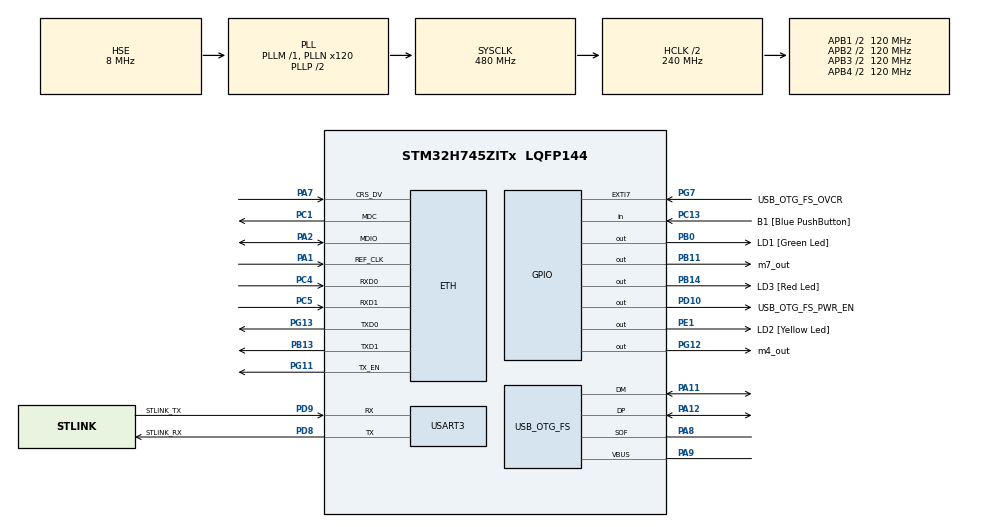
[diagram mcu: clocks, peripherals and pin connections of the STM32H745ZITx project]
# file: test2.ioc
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CORTEX_M7.CPU_DCache=Disabled
CORTEX_M7.CPU_ICache=Disabled
CortexM4.IPs=FATFS_M4\:I,FREERTOS_M4\:I,IWDG2\:I,RCC,WWDG2\:I,DMA,BDMA,MDMA,NVIC2\:I,USART3,ETH,DEBUG,USB_DEVICE_M4\:I,USB_HOST_M4\:I,PDM2PCM_M4\:I,PWR,RESMGR_UTILITY,SYS_M4\:I,CORTEX_M4\:I,VREFBUF
CortexM4.Pins=PB0,PB14,PG12
CortexM7.IPs=FATFS_M7\:I,FREERTOS_M7\:I,IWDG1\:I,RCC\:I,WWDG1\:I,DMA\:I,BDMA\:I,MDMA\:I,NVIC1\:I,SYS\:I,USART3\:I,USB_OTG_FS\:I,ETH\:I,CORTEX_M7\:I,DEBUG\:I,USB_DEVICE_M7\:I,USB_HOST_M7\:I,PDM2PCM_M7\:I,PWR\:I,RESMGR_UTILITY\:I,VREFBUF\:I
CortexM7.Pins=PC13,PB11,PE1
ETH.MediaInterface=HAL_ETH_RMII_MODE
Mcu.Family=STM32H7
Mcu.Name=STM32H745ZITx
Mcu.Package=LQFP144
Mcu.UserConstants=HSEM_USART3_UpdateHandler,2;HSEM_USART3,1;HSEM_INFO,3
NVIC1.HSEM1_IRQn=true\:0\:0\:false\:false\:true\:true\:true
NVIC1.PriorityGroup=NVIC_PRIORITYGROUP_4
NVIC2.HSEM2_IRQn=true\:0\:0\:false\:false\:true\:true\:true
NVIC2.PriorityGroup=NVIC_PRIORITYGROUP_4
PA1.Mode=RMII
PA1.PinAttribute=CortexM7
PA1.Signal=ETH_REF_CLK
PA11.Mode=Device_Only
PA11.PinAttribute=CortexM7
PA11.Signal=USB_OTG_FS_DM
PA12.Mode=Device_Only
PA12.PinAttribute=CortexM7
PA12.Signal=USB_OTG_FS_DP
PA2.Mode=RMII
PA2.PinAttribute=CortexM7
PA2.Signal=ETH_MDIO
PA7.Mode=RMII
PA7.PinAttribute=CortexM7
PA7.Signal=ETH_CRS_DV
PA8.Mode=Activate_SOF_FS
PA8.PinAttribute=CortexM7
PA8.Signal=USB_OTG_FS_SOF
PA9.Mode=Activate_VBUS
PA9.PinAttribute=CortexM7
PA9.Signal=USB_OTG_FS_VBUS
PB0.GPIO_Label=LD1 [Green Led]
PB0.PinAttribute=CortexM4
PB0.Signal=GPIO_Output
PB11.GPIO_Label=m7_out
PB11.PinAttribute=CortexM7
PB11.PinState=GPIO_PIN_SET
PB11.Signal=GPIO_Output
PB13.Mode=RMII
PB13.PinAttribute=CortexM7
PB13.Signal=ETH_TXD1
PB14.GPIO_Label=LD3 [Red Led]
PB14.PinAttribute=CortexM4
PB14.Signal=GPIO_Output
PC1.Mode=RMII
PC1.PinAttribute=CortexM7
PC1.Signal=ETH_MDC
PC13.GPIO_Label=B1 [Blue PushButton]
PC13.PinAttribute=CortexM7
PC13.Signal=GPIO_Input
PC14-OSC32_IN\ (OSC32_IN).Mode=LSE-External-Oscillator
PC14-OSC32_IN\ (OSC32_IN).PinAttribute=CortexM7
PC14-OSC32_IN\ (OSC32_IN).Signal=RCC_OSC32_IN
PC15-OSC32_OUT\ (OSC32_OUT).Mode=LSE-External-Oscillator
PC15-OSC32_OUT\ (OSC32_OUT).PinAttribute=CortexM7
PC15-OSC32_OUT\ (OSC32_OUT).Signal=RCC_OSC32_OUT
PC4.Mode=RMII
PC4.PinAttribute=CortexM7
PC4.Signal=ETH_RXD0
PC5.Mode=RMII
PC5.PinAttribute=CortexM7
PC5.Signal=ETH_RXD1
PD10.GPIO_Label=USB_OTG_FS_PWR_EN
PD10.PinAttribute=Free
PD10.Signal=GPIO_Output
PD8.GPIO_Label=STLINK_RX
PD8.Mode=Asynchronous
PD8.PinAttribute=CortexM7
PD8.Signal=USART3_TX
PD9.GPIO_Label=STLINK_TX
PD9.Mode=Asynchronous
PD9.PinAttribute=CortexM7
PD9.Signal=USART3_RX
PE1.GPIO_Label=LD2 [Yellow Led]
PE1.PinAttribute=CortexM7
PE1.Signal=GPIO_Output
PG11.Mode=RMII
PG11.PinAttribute=CortexM7
PG11.Signal=ETH_TX_EN
PG12.GPIO_Label=m4_out
PG12.PinAttribute=CortexM4
PG12.PinState=GPIO_PIN_SET
PG12.Signal=GPIO_Output
PG13.Mode=RMII
PG13.PinAttribute=CortexM7
PG13.Signal=ETH_TXD0
PG7.GPIO_Label=USB_OTG_FS_OVCR
PG7.PinAttribute=Free
PG7.Signal=GPXTI7
PH0-OSC_IN\ (PH0).Mode=HSE-External-Clock-Source
PH0-OSC_IN\ (PH0).PinAttribute=CortexM7
PH0-OSC_IN\ (PH0).Signal=RCC_OSC_IN
PH1-OSC_OUT\ (PH1).PinAttribute=CortexM7
PH1-OSC_OUT\ (PH1).Signal=RCC_OSC_OUT
ProjectManager.HeapSize=0x200
ProjectManager.StackSize=0x400
ProjectManager.TargetToolchain=STM32CubeIDE
RCC.ADCFreq_Value=16125000
RCC.APB1Freq_Value=120000000
RCC.APB2Freq_Value=120000000
RCC.APB3Freq_Value=120000000
RCC.APB4Freq_Value=120000000
RCC.CortexFreq_Value=480000000
RCC.D1PPRE=RCC_APB3_DIV2
RCC.D2PPRE1=RCC_APB1_DIV2
RCC.D2PPRE2=RCC_APB2_DIV2
RCC.D3PPRE=RCC_APB4_DIV2
RCC.DIVM1=1
RCC.DIVM3=1
RCC.DIVN1=120
RCC.DIVN3=24
RCC.DIVQ3=4
RCC.HCLKFreq_Value=240000000
RCC.HPRE=RCC_HCLK_DIV2
RCC.HSE_VALUE=8000000
RCC.PLL2FRACN=0
RCC.PLL3FRACN=0
RCC.PLLFRACN=0
RCC.SYSCLKFreq_VALUE=480000000
RCC.SYSCLKSource=RCC_SYSCLKSOURCE_PLLCLK
RCC.SupplySource=PWR_DIRECT_SMPS_SUPPLY
RCC.USBCLockSelection=RCC_USBCLKSOURCE_PLL3
RCC.USBFreq_Value=48000000
USART3.VirtualMode-Asynchronous=VM_ASYNC
USB_OTG_FS.VirtualMode=Device_Only
VP_SYS_M4_VS_Systick.Mode=SysTick
board=NUCLEO-H745ZI-Q

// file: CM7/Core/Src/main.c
/* USER CODE BEGIN Header */
/**
 ******************************************************************************
 * @file           : main.c
 * @brief          : Main program body
 ******************************************************************************
 * @attention
 *
 * <h2><center>&copy; Copyright (c) 2020 STMicroelectronics.
 * All rights reserved.</center></h2>
 *
 * This software component is licensed by ST under BSD 3-Clause license,
 * the "License"; You may not use this file except in compliance with the
 * License. You may obtain a copy of the License at:
 *                        opensource.org/licenses/BSD-3-Clause
 *
 ******************************************************************************
 */
/* USER CODE END Header */

#include "main.h"
#include "string.h"

/* USER CODE BEGIN Includes */
#include "arc_console.hpp"
#include "cxx_main.h"
#include "coremark.h"
/* USER CODE END Includes */

/* USER CODE BEGIN PD */
#define HSEM_ID_0 (0U) /* HW semaphore 0*/

/* USER CODE END PD */

/* USER CODE BEGIN PM */
#define DEBUG_PRINT(...) console_tag("Cortex-M7", __VA_ARGS__);
//#define DEBUG_PRINT(...)

/* USER CODE END PM */

#if defined ( __ICCARM__ ) /*!< IAR Compiler */

#pragma location=0x30040000
ETH_DMADescTypeDef  DMARxDscrTab[ETH_RX_DESC_CNT]; /* Ethernet Rx DMA Descriptors */
#pragma location=0x30040060
ETH_DMADescTypeDef  DMATxDscrTab[ETH_TX_DESC_CNT]; /* Ethernet Tx DMA Descriptors */
#pragma location=0x30040200
uint8_t Rx_Buff[ETH_RX_DESC_CNT][ETH_MAX_PACKET_SIZE]; /* Ethernet Receive Buffers */

#elif defined ( __CC_ARM )  /* MDK ARM Compiler */

__attribute__((at(0x30040000))) ETH_DMADescTypeDef  DMARxDscrTab[ETH_RX_DESC_CNT]; /* Ethernet Rx DMA Descriptors */
__attribute__((at(0x30040060))) ETH_DMADescTypeDef  DMATxDscrTab[ETH_TX_DESC_CNT]; /* Ethernet Tx DMA Descriptors */
__attribute__((at(0x30040200))) uint8_t Rx_Buff[ETH_RX_DESC_CNT][ETH_MAX_PACKET_SIZE]; /* Ethernet Receive Buffer */

#elif defined ( __GNUC__ ) /* GNU Compiler */

ETH_DMADescTypeDef DMARxDscrTab[ETH_RX_DESC_CNT] __attribute__((section(".RxDecripSection"))); /* Ethernet Rx DMA Descriptors */
ETH_DMADescTypeDef DMATxDscrTab[ETH_TX_DESC_CNT] __attribute__((section(".TxDecripSection")));   /* Ethernet Tx DMA Descriptors */
uint8_t Rx_Buff[ETH_RX_DESC_CNT][ETH_MAX_PACKET_SIZE] __attribute__((section(".RxArraySection"))); /* Ethernet Receive Buffers */

#endif

ETH_TxPacketConfig TxConfig;

ETH_HandleTypeDef heth;

UART_HandleTypeDef huart3;

PCD_HandleTypeDef hpcd_USB_OTG_FS;

/* USER CODE BEGIN PV */
UART_HandleTypeDef huart3_buffer_in_CM7 __attribute__((section(".ipcc")));
ts_share_infomation info __attribute__((section(".ipcc")));
/* USER CODE END PV */

void SystemClock_Config(void);
static void MX_GPIO_Init(void);
static void MX_ETH_Init(void);
static void MX_USART3_UART_Init(void);
static void MX_USB_OTG_FS_PCD_Init(void);

/* USER CODE BEGIN 0 */
//int _write(int file, char *ptr, int len)
//{
//	HAL_UART_Transmit(&huart3, (uint8_t*)ptr, len, 500);
//	return len;
//}

clock_t clock()
{
	return HAL_GetTick();
    //return MCU.SystemClock;
}
/* USER CODE END 0 */

int main(void)
{
  /* USER CODE BEGIN Boot_Mode_Sequence_0 */
	int32_t timeout;
  /* USER CODE END Boot_Mode_Sequence_0 */

/* USER CODE BEGIN Boot_Mode_Sequence_1 */
	/* Wait until CPU2 boots and enters in stop mode or timeout*/
	timeout = 0xFFFF;
	while((__HAL_RCC_GET_FLAG(RCC_FLAG_D2CKRDY) != RESET) && (timeout-- > 0));
	if ( timeout < 0 )
	{
		Error_Handler();
	}
/* USER CODE END Boot_Mode_Sequence_1 */
  /* MCU Configuration--------------------------------------------------------*/

  /* Reset of all peripherals, Initializes the Flash interface and the Systick. */
  HAL_Init();

  /* Configure the system clock */
  SystemClock_Config();
/* USER CODE BEGIN Boot_Mode_Sequence_2 */
	/* When system initialization is finished, Cortex-M7 will release Cortex-M4 by means of HSEM notification */
	/*HW semaphore Clock enable*/
	__HAL_RCC_HSEM_CLK_ENABLE();
	/*Take HSEM */
	HAL_HSEM_FastTake(HSEM_ID_0);
	HAL_HSEM_FastTake(HSEM_USART3_UpdateHandler);

	/*Release HSEM in order to notify the CPU2(CM4)*/
	HAL_HSEM_Release(HSEM_ID_0,0);
	/* wait until CPU2 wakes up from stop mode */
	timeout = 0xFFFF;
	while((__HAL_RCC_GET_FLAG(RCC_FLAG_D2CKRDY) == RESET) && (timeout-- > 0));
	if ( timeout < 0 )
	{
		Error_Handler();
	}
/* USER CODE END Boot_Mode_Sequence_2 */

  /* Initialize all configured peripherals */
  MX_GPIO_Init();
  MX_ETH_Init();
  MX_USART3_UART_Init();
  MX_USB_OTG_FS_PCD_Init();
  /* USER CODE BEGIN 2 */
	memcpy(&huart3_buffer_in_CM7, &huart3, sizeof(UART_HandleTypeDef));
	HAL_HSEM_Release(HSEM_USART3_UpdateHandler, 0);
  /* USER CODE END 2 */

  /* Infinite loop */
  /* USER CODE BEGIN WHILE */
	cxx_main_init();
	while (1)
	{
    /* USER CODE END WHILE */

    /* USER CODE BEGIN 3 */

//		if( HAL_GPIO_ReadPin(GPIOC, GPIO_PIN_13) == GPIO_PIN_SET )
//		{
////			console("\r\n coremark start...");
////			HAL_GPIO_WritePin(LD3_GPIO_Port, LD3_Pin, GPIO_PIN_SET);
////			coremark_main();
////			HAL_GPIO_WritePin(LD3_GPIO_Port, LD3_Pin, GPIO_PIN_RESET);
////			console("\r\n coremark finish...");
//			EXEC_INTERVAL(500)
//			{
//				console_tag("CM7", "User Button Down!");
//			}
//			EXEC_INTERVAL_END
//		}

		EXEC_INTERVAL(5000)
		{
			HAL_HSEM_FastTake(HSEM_ID_0);
			HAL_HSEM_Release(HSEM_ID_0,0);
		}
		EXEC_INTERVAL_END

		cxx_main_loop();

		EXEC_INTERVAL(500)
		{
			HAL_GPIO_TogglePin(LD2_GPIO_Port, LD2_Pin);
		}
		EXEC_INTERVAL_END

	}
  /* USER CODE END 3 */
}

void SystemClock_Config(void)
{
  RCC_OscInitTypeDef RCC_OscInitStruct = {0};
  RCC_ClkInitTypeDef RCC_ClkInitStruct = {0};
  RCC_PeriphCLKInitTypeDef PeriphClkInitStruct = {0};

  /** Supply configuration update enable
  */
  HAL_PWREx_ConfigSupply(PWR_DIRECT_SMPS_SUPPLY);
  /** Configure the main internal regulator output voltage
  */
  __HAL_PWR_VOLTAGESCALING_CONFIG(PWR_REGULATOR_VOLTAGE_SCALE0);

  while(!__HAL_PWR_GET_FLAG(PWR_FLAG_VOSRDY)) {}
  /** Macro to configure the PLL clock source
  */
  __HAL_RCC_PLL_PLLSOURCE_CONFIG(RCC_PLLSOURCE_HSE);
  /** Initializes the CPU, AHB and APB busses clocks
  */
  RCC_OscInitStruct.OscillatorType = RCC_OSCILLATORTYPE_HSE;
  RCC_OscInitStruct.HSEState = RCC_HSE_BYPASS;
  RCC_OscInitStruct.PLL.PLLState = RCC_PLL_ON;
  RCC_OscInitStruct.PLL.PLLSource = RCC_PLLSOURCE_HSE;
  RCC_OscInitStruct.PLL.PLLM = 1;
  RCC_OscInitStruct.PLL.PLLN = 120;
  RCC_OscInitStruct.PLL.PLLP = 2;
  RCC_OscInitStruct.PLL.PLLQ = 2;
  RCC_OscInitStruct.PLL.PLLR = 2;
  RCC_OscInitStruct.PLL.PLLRGE = RCC_PLL1VCIRANGE_3;
  RCC_OscInitStruct.PLL.PLLVCOSEL = RCC_PLL1VCOWIDE;
  RCC_OscInitStruct.PLL.PLLFRACN = 0;
  if (HAL_RCC_OscConfig(&RCC_OscInitStruct) != HAL_OK)
  {
    Error_Handler();
  }
  /** Initializes the CPU, AHB and APB busses clocks
  */
  RCC_ClkInitStruct.ClockType = RCC_CLOCKTYPE_HCLK|RCC_CLOCKTYPE_SYSCLK
                              |RCC_CLOCKTYPE_PCLK1|RCC_CLOCKTYPE_PCLK2
                              |RCC_CLOCKTYPE_D3PCLK1|RCC_CLOCKTYPE_D1PCLK1;
  RCC_ClkInitStruct.SYSCLKSource = RCC_SYSCLKSOURCE_PLLCLK;
  RCC_ClkInitStruct.SYSCLKDivider = RCC_SYSCLK_DIV1;
  RCC_ClkInitStruct.AHBCLKDivider = RCC_HCLK_DIV2;
  RCC_ClkInitStruct.APB3CLKDivider = RCC_APB3_DIV2;
  RCC_ClkInitStruct.APB1CLKDivider = RCC_APB1_DIV2;
  RCC_ClkInitStruct.APB2CLKDivider = RCC_APB2_DIV2;
  RCC_ClkInitStruct.APB4CLKDivider = RCC_APB4_DIV2;

  if (HAL_RCC_ClockConfig(&RCC_ClkInitStruct, FLASH_LATENCY_4) != HAL_OK)
  {
    Error_Handler();
  }
  PeriphClkInitStruct.PeriphClockSelection = RCC_PERIPHCLK_USART3|RCC_PERIPHCLK_USB;
  PeriphClkInitStruct.PLL3.PLL3M = 1;
  PeriphClkInitStruct.PLL3.PLL3N = 24;
  PeriphClkInitStruct.PLL3.PLL3P = 2;
  PeriphClkInitStruct.PLL3.PLL3Q = 4;
  PeriphClkInitStruct.PLL3.PLL3R = 2;
  PeriphClkInitStruct.PLL3.PLL3RGE = RCC_PLL3VCIRANGE_3;
  PeriphClkInitStruct.PLL3.PLL3VCOSEL = RCC_PLL3VCOWIDE;
  PeriphClkInitStruct.PLL3.PLL3FRACN = 0;
  PeriphClkInitStruct.Usart234578ClockSelection = RCC_USART234578CLKSOURCE_D2PCLK1;
  PeriphClkInitStruct.UsbClockSelection = RCC_USBCLKSOURCE_PLL3;
  if (HAL_RCCEx_PeriphCLKConfig(&PeriphClkInitStruct) != HAL_OK)
  {
    Error_Handler();
  }
  /** Enable USB Voltage detector
  */
  HAL_PWREx_EnableUSBVoltageDetector();
}

static void MX_ETH_Init(void)
{

  heth.Instance = ETH;
  heth.Init.MACAddr[0] =   0x00;
  heth.Init.MACAddr[1] =   0x80;
  heth.Init.MACAddr[2] =   0xE1;
  heth.Init.MACAddr[3] =   0x00;
  heth.Init.MACAddr[4] =   0x00;
  heth.Init.MACAddr[5] =   0x00;
  heth.Init.MediaInterface = HAL_ETH_RMII_MODE;
  heth.Init.TxDesc = DMATxDscrTab;
  heth.Init.RxDesc = DMARxDscrTab;
  heth.Init.RxBuffLen = 1524;

  if (HAL_ETH_Init(&heth) != HAL_OK)
  {
    Error_Handler();
  }

  memset(&TxConfig, 0 , sizeof(ETH_TxPacketConfig));
  TxConfig.Attributes = ETH_TX_PACKETS_FEATURES_CSUM | ETH_TX_PACKETS_FEATURES_CRCPAD;
  TxConfig.ChecksumCtrl = ETH_CHECKSUM_IPHDR_PAYLOAD_INSERT_PHDR_CALC;
  TxConfig.CRCPadCtrl = ETH_CRC_PAD_INSERT;

}

static void MX_USART3_UART_Init(void)
{

  huart3.Instance = USART3;
  huart3.Init.BaudRate = 115200;
  huart3.Init.WordLength = UART_WORDLENGTH_8B;
  huart3.Init.StopBits = UART_STOPBITS_1;
  huart3.Init.Parity = UART_PARITY_NONE;
  huart3.Init.Mode = UART_MODE_TX_RX;
  huart3.Init.HwFlowCtl = UART_HWCONTROL_NONE;
  huart3.Init.OverSampling = UART_OVERSAMPLING_16;
  huart3.Init.OneBitSampling = UART_ONE_BIT_SAMPLE_DISABLE;
  huart3.Init.ClockPrescaler = UART_PRESCALER_DIV1;
  huart3.AdvancedInit.AdvFeatureInit = UART_ADVFEATURE_NO_INIT;
  if (HAL_UART_Init(&huart3) != HAL_OK)
  {
    Error_Handler();
  }
  if (HAL_UARTEx_SetTxFifoThreshold(&huart3, UART_TXFIFO_THRESHOLD_1_8) != HAL_OK)
  {
    Error_Handler();
  }
  if (HAL_UARTEx_SetRxFifoThreshold(&huart3, UART_RXFIFO_THRESHOLD_1_8) != HAL_OK)
  {
    Error_Handler();
  }
  if (HAL_UARTEx_DisableFifoMode(&huart3) != HAL_OK)
  {
    Error_Handler();
  }

}

static void MX_USB_OTG_FS_PCD_Init(void)
{

  hpcd_USB_OTG_FS.Instance = USB_OTG_FS;
  hpcd_USB_OTG_FS.Init.dev_endpoints = 9;
  hpcd_USB_OTG_FS.Init.speed = PCD_SPEED_FULL;
  hpcd_USB_OTG_FS.Init.dma_enable = DISABLE;
  hpcd_USB_OTG_FS.Init.phy_itface = PCD_PHY_EMBEDDED;
  hpcd_USB_OTG_FS.Init.Sof_enable = DISABLE;
  hpcd_USB_OTG_FS.Init.low_power_enable = DISABLE;
  hpcd_USB_OTG_FS.Init.lpm_enable = DISABLE;
  hpcd_USB_OTG_FS.Init.battery_charging_enable = ENABLE;
  hpcd_USB_OTG_FS.Init.vbus_sensing_enable = ENABLE;
  hpcd_USB_OTG_FS.Init.use_dedicated_ep1 = DISABLE;
  if (HAL_PCD_Init(&hpcd_USB_OTG_FS) != HAL_OK)
  {
    Error_Handler();
  }

}

static void MX_GPIO_Init(void)
{
  GPIO_InitTypeDef GPIO_InitStruct = {0};

  /* GPIO Ports Clock Enable */
  __HAL_RCC_GPIOC_CLK_ENABLE();
  __HAL_RCC_GPIOH_CLK_ENABLE();
  __HAL_RCC_GPIOA_CLK_ENABLE();
  __HAL_RCC_GPIOB_CLK_ENABLE();
  __HAL_RCC_GPIOD_CLK_ENABLE();
  __HAL_RCC_GPIOG_CLK_ENABLE();
  __HAL_RCC_GPIOE_CLK_ENABLE();

  /*Configure GPIO pin Output Level */
  HAL_GPIO_WritePin(m7_out_GPIO_Port, m7_out_Pin, GPIO_PIN_SET);

  /*Configure GPIO pin Output Level */
  HAL_GPIO_WritePin(LD2_GPIO_Port, LD2_Pin, GPIO_PIN_RESET);

  /*Configure GPIO pin : B1_Pin */
  GPIO_InitStruct.Pin = B1_Pin;
  GPIO_InitStruct.Mode = GPIO_MODE_INPUT;
  GPIO_InitStruct.Pull = GPIO_NOPULL;
  HAL_GPIO_Init(B1_GPIO_Port, &GPIO_InitStruct);

  /*Configure GPIO pin : m7_out_Pin */
  GPIO_InitStruct.Pin = m7_out_Pin;
  GPIO_InitStruct.Mode = GPIO_MODE_OUTPUT_PP;
  GPIO_InitStruct.Pull = GPIO_NOPULL;
  GPIO_InitStruct.Speed = GPIO_SPEED_FREQ_LOW;
  HAL_GPIO_Init(m7_out_GPIO_Port, &GPIO_InitStruct);

  /*Configure GPIO pin : LD2_Pin */
  GPIO_InitStruct.Pin = LD2_Pin;
  GPIO_InitStruct.Mode = GPIO_MODE_OUTPUT_PP;
  GPIO_InitStruct.Pull = GPIO_NOPULL;
  GPIO_InitStruct.Speed = GPIO_SPEED_FREQ_LOW;
  HAL_GPIO_Init(LD2_GPIO_Port, &GPIO_InitStruct);

}

/* USER CODE BEGIN 4 */
void HAL_HSEM_FreeCallback(uint32_t SemMask)
{
	DEBUG_PRINT("HAL_HSEM_FreeCallback %d", SemMask);
}
/* USER CODE END 4 */

void Error_Handler(void)
{
}

/************************ (C) COPYRIGHT STMicroelectronics *****END OF FILE****/
